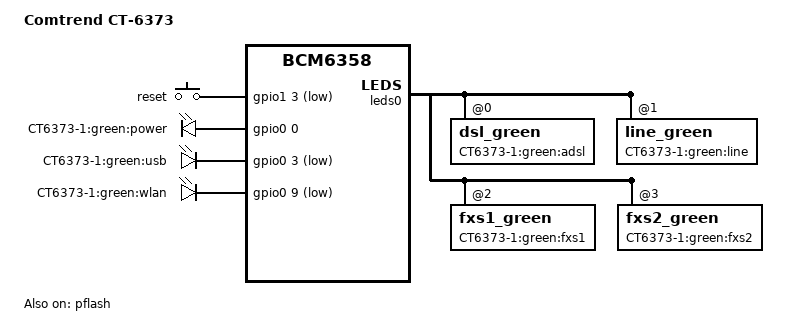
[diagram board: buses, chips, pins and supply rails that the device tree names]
/dts-v1/;

#include "bcm6358.dtsi"

#include <dt-bindings/input/input.h>

/ {
	model = "Comtrend CT-6373";
	compatible = "comtrend,ct-6373", "brcm,bcm6358";

	gpio-keys-polled {
		compatible = "gpio-keys-polled";
		#address-cells = <1>;
		#size-cells = <0>;
		poll-interval = <20>;
		debounce-interval = <60>;

		reset {
			label = "reset";
			gpios = <&gpio1 3 1>;
			linux,code = <KEY_RESTART>;
		};
	};

	gpio-leds {
		compatible = "gpio-leds";

		power_green {
			label = "CT6373-1:green:power";
			gpios = <&gpio0 0 0>;
			default-state = "on";
		};
		usb_green {
			label = "CT6373-1:green:usb";
			gpios = <&gpio0 3 1>;
		};
		wlan_green {
			label = "CT6373-1:green:wlan";
			gpios = <&gpio0 9 1>;
		};
	};
};

&leds0 {
	status = "ok";

	dsl_green@0 {
		reg = <0>;
		active-low;
		label = "CT6373-1:green:adsl";
	};
	line_green@1 {
		reg = <1>;
		active-low;
		label = "CT6373-1:green:line";
	};
	fxs1_green@2 {
		reg = <2>;
		active-low;
		label = "CT6373-1:green:fxs1";
	};
	fxs2_green@3 {
		reg = <3>;
		active-low;
		label = "CT6373-1:green:fxs2";
	};
};

&pflash {
	status = "ok";

	linux,part-probe = "bcm63xxpart";

	cfe@0 {
		label = "CFE";
		reg = <0x000000 0x010000>;
		read-only;
	};

	linux@10000 {
		label = "linux";
		reg = <0x010000 0x7e0000>;
	};

	nvram@7f0000 {
		label = "nvram";
		reg = <0x7f0000 0x010000>;
	};
};
